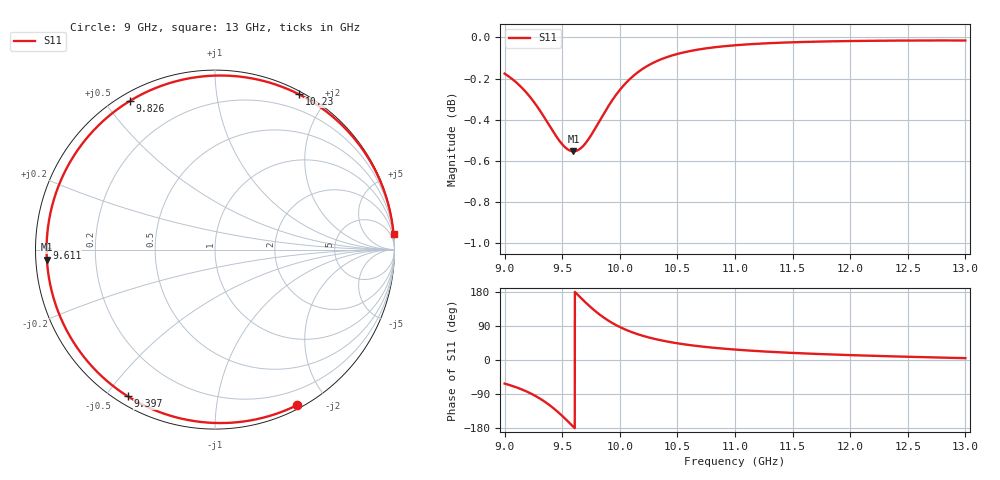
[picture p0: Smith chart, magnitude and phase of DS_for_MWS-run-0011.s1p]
! TOUCHSTONE file generated by CST DESIGN STUDIO
! Date and time: Tue Feb  4 13:39:04 2025
! Project name: C:\Work\MatlabApps\UnitCellOptimizationMatlab\CST\unitcell.cst
! Tree item: Tasks\Sweep1\SPara1\S-Parameters
! Header version: 2024
! Port assignment regex: !\s*Touchstone port\s*([0-9]+)\s*=\s*(CST MWS port|CST DES external port|CST DES block port)\s*(.+)\s* \(\"(.*)\"\)(\s*mode\s*([0-9]+))?.*
! Touchstone port assignment:
! Touchstone port 1 = CST DES external port 1 ("")
# GHz S MA R 50
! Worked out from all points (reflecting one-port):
!   4001 points, 9 GHz to 13 GHz, reference 50 ohm
!   lowest |S11| = -0.6 dB at 9.598 GHz (marker M1), VSWR 31.40, Z = 1.59 - j1.49 ohm
!   phase of S11 starts at -62 deg and turns -293 deg over the sweep
!   S11 on the Smith chart (normalised r, x): 9 GHz: 0.04, -1.66; 9.397 GHz: 0.03, -0.57; 9.611 GHz: 0.03, +0.01; 9.826 GHz: 0.03, +0.58; 10.23 GHz: 0.03, +1.68; 13 GHz: 0, +24
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9  0.98 -62.2
9.052  0.9777 -67.0
9.123  0.9739 -74.5
9.244  0.9654 -91.0
9.326  0.9581 -105.5
9.397  0.9511 -120.7
9.448  0.9462 -133.3
9.5  0.942 -147.4
9.551  0.9392 -162.3
9.598  0.9383 -176.6
9.611  0.9383 179.4
9.656  0.9396 165.7
9.703  0.9426 151.8
9.765  0.9482 134.7
9.826  0.9546 119.7
9.865  0.9587 111.1
9.906  0.9628 102.9
10  0.971 87.1
10.108  0.9782 73.1
10.226  0.9837 61.6
10.353  0.9877 52.2
10.5  0.9908 44.1
10.72  0.9936 35.2
11  0.9956 27.5
11.5  0.9973 18.7
12  0.998 12.9
12.5  0.9983 8.5
13  0.9983 4.9
